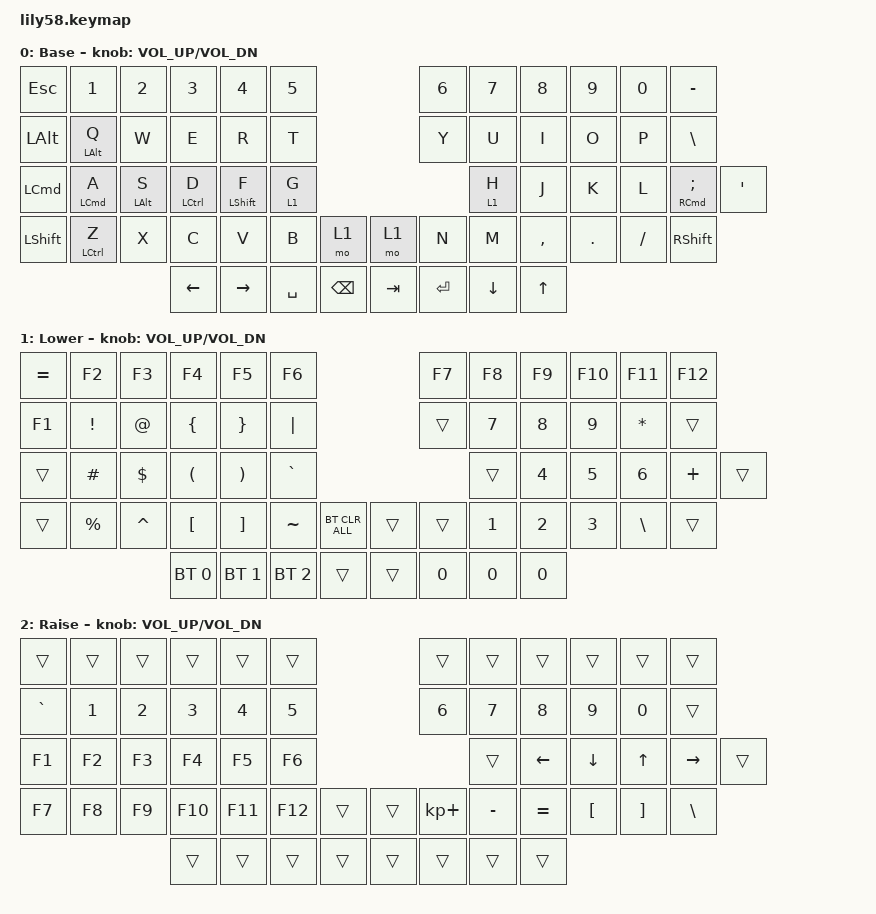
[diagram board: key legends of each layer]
/*
 * Copyright (c) 2020 The ZMK Contributors
 *
 * SPDX-License-Identifier: MIT
 */

#include <behaviors.dtsi>
#include <dt-bindings/zmk/bt.h>
#include <dt-bindings/zmk/keys.h>

&mt {
    tapping-term-ms = <300>; // default 200ms
    flavor = "tap-preferred";
};

/ {

    keymap {
        compatible = "zmk,keymap";

        default_layer {
            // ------------------------------------------------------------------------------------------------------------
            // |  ESC  |  1  |  2  |  3   |  4   |  5   |                   |  6   |  7    |  8    |  9   |   0   |   `   |
            // |  TAB  |  Q  |  W  |  E   |  R   |  T   |                   |  Y   |  U    |  I    |  O   |   P   |   -   |
            // |  CTRL |  A  |  S  |  D   |  F   |  G   |                   |  H   |  J    |  K    |  L   |   ;   |   '   |
            // | SHIFT |  Z  |  X  |  C   |  V   |  B   |   "["  |  |  "]"  |  N   |  M    |  ,    |  .   |   /   | SHIFT |
            //                     | ALT  | GUI  | LOWER|  SPACE |  | ENTER | RAISE| BSPC  | GUI   |

            display-name = "Base";
            bindings = <
&kp ESC           &kp N1              &kp N2  &kp N3    &kp N4     &kp N5                               &kp N6     &kp N7    &kp N8     &kp N9   &kp N0    &kp MINUS
&kp LEFT_ALT      &mt LEFT_ALT Q      &kp W   &kp E     &kp R      &kp T                                &kp Y      &kp U     &kp I      &kp O    &kp P     &kp BACKSLASH
&kp LEFT_COMMAND  &mt LEFT_COMMAND A  &mt LEFT_ALT S   &mt LCTRL D  &mt LSHFT  F    &lt 1 G             &lt 1 H    &kp J     &kp K      &kp L    &mt RIGHT_COMMAND SEMI  &kp SQT
&kp LSHFT         &mt LCTRL Z         &kp X   &kp C     &kp V      &kp B      &mo 1            &mo 1    &kp N      &kp M     &kp COMMA  &kp DOT  &kp FSLH  &kp RSHFT
                                              &kp LEFT  &kp RIGHT  &kp SPACE  &kp BACKSPACE    &kp TAB  &kp ENTER  &kp DOWN  &kp UP
            >;

            sensor-bindings = <&inc_dec_kp C_VOL_UP C_VOL_DN>;
        };

        lower_layer {
            // ------------------------------------------------------------------------------------------------------------
            // | BTCLR | BT1 | BT2 |  BT3 |  BT4 |  BT5 |                   |      |       |       |      |       |       |
            // |  F1   |  F2 |  F3 |  F4  |  F5  |  F6  |                   |  F7  |  F8   |  F9   |  F10 |  F11  |  F12  |
            // |   `   |  !  |  @  |  #   |  $   |  %   |                   |  ^   |  &    |  *    |  (   |   )   |   ~   |
            // |       |     |     |      |      |      |        |  |       |      |  _    |  +    |  {   |   }   |  "|"  |
            //                     |      |      |      |        |  |       |      |       |       |

            display-name = "Lower";
            bindings = <
&kp EQUAL  &kp F2           &kp F3       &kp F4                &kp F5                 &kp F6                                  &kp F7        &kp F8        &kp F9        &kp F10       &kp F11        &kp F12
&kp F1     &kp EXCLAMATION  &kp AT_SIGN  &kp LEFT_BRACE        &kp RIGHT_BRACE        &kp PIPE                                &trans        &kp N7        &kp N8        &kp N9        &kp ASTRK      &trans
&trans     &kp HASH         &kp DOLLAR   &kp LEFT_PARENTHESIS  &kp RIGHT_PARENTHESIS  &kp GRAVE                               &trans        &kp NUMBER_4  &kp N5        &kp NUMBER_6  &kp PLUS       &trans
&trans     &kp PERCENT      &kp CARET    &kp LEFT_BRACKET      &kp RIGHT_BRACKET      &kp TILDE     &bt BT_CLR_ALL    &trans  &trans        &kp NUMBER_1  &kp NUMBER_2  &kp NUMBER_3  &kp BACKSLASH  &trans
                                         &bt BT_SEL 0          &bt BT_SEL 1           &bt BT_SEL 2  &trans            &trans  &kp NUMBER_0  &kp NUMBER_0  &kp NUMBER_0
            >;

            sensor-bindings = <&inc_dec_kp C_VOL_UP C_VOL_DN>;
        };

        raise_layer {
            // ------------------------------------------------------------------------------------------------------------
            // |       |     |     |      |      |      |                   |      |       |       |      |       |       |
            // |   `   |  1  |  2  |  3   |  4   |  5   |                   |  6   |   7   |   8   |  9   |   0   |       |
            // |   F1  |  F2 |  F3 |  F4  |  F5  |  F6  |                   |      |   <-  |   v   |  ^   |  ->   |       |
            // |   F7  |  F8 |  F9 |  F10 |  F11 |  F12 |        |  |       |  +   |   -   |   =   |  [   |   ]   |   \   |
            //                     |      |      |      |        |  |       |      |       |       |

            display-name = "Raise";
            bindings = <
&trans     &trans  &trans  &trans   &trans   &trans                     &trans       &trans     &trans     &trans    &trans     &trans
&kp GRAVE  &kp N1  &kp N2  &kp N3   &kp N4   &kp N5                     &kp N6       &kp N7     &kp N8     &kp N9    &kp N0     &trans
&kp F1     &kp F2  &kp F3  &kp F4   &kp F5   &kp F6                     &trans       &kp LEFT   &kp DOWN   &kp UP    &kp RIGHT  &trans
&kp F7     &kp F8  &kp F9  &kp F10  &kp F11  &kp F12  &trans    &trans  &kp KP_PLUS  &kp MINUS  &kp EQUAL  &kp LBKT  &kp RBKT   &kp BSLH
                           &trans   &trans   &trans   &trans    &trans  &trans       &trans     &trans
            >;

            sensor-bindings = <&inc_dec_kp C_VOL_UP C_VOL_DN>;
        };

        extra_1 { status = "reserved"; };

        extra_2 { status = "reserved"; };

        extra_3 { status = "reserved"; };
    };
};
